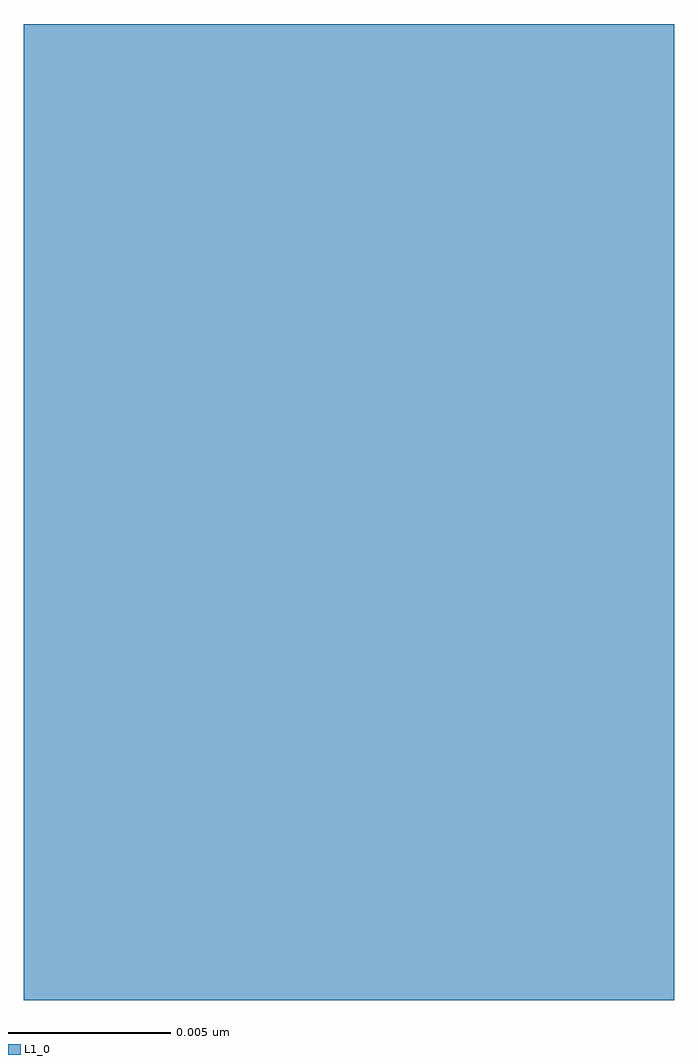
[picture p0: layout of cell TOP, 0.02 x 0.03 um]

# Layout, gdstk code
import gdstk
lib = gdstk.Library(unit=1e-6, precision=1e-09)
def R(c, l, rs):  # rectangles x0, y0, x1, y1
    for r in rs: c.add(gdstk.rectangle(r[:2], r[2:], *l))
def A(c, l, x, y, w, h, nx, ny, dx, dy):  # array of equal rectangles
    R(c, l, [(x+i*dx, y+j*dy, x+i*dx+w, y+j*dy+h) for i in range(nx) for j in range(ny)])
L1_0 = (1, 0)

c_c1 = lib.new_cell('C1')
R(c_c1, L1_0, [(-0.005,-0.005,0.005,0.005)])

top = lib.new_cell('TOP')
A(top, L1_0, -0.005, 0.005, 0.01, 0.01, 1, 3, 0, 0.01)
top.add(gdstk.Reference(c_c1, (0.01,0.01)))
top.add(gdstk.Reference(c_c1, (0.01,0.02)))
top.add(gdstk.Reference(c_c1, (0.01,0.03)))

lib.write_gds('TOP.gds')
